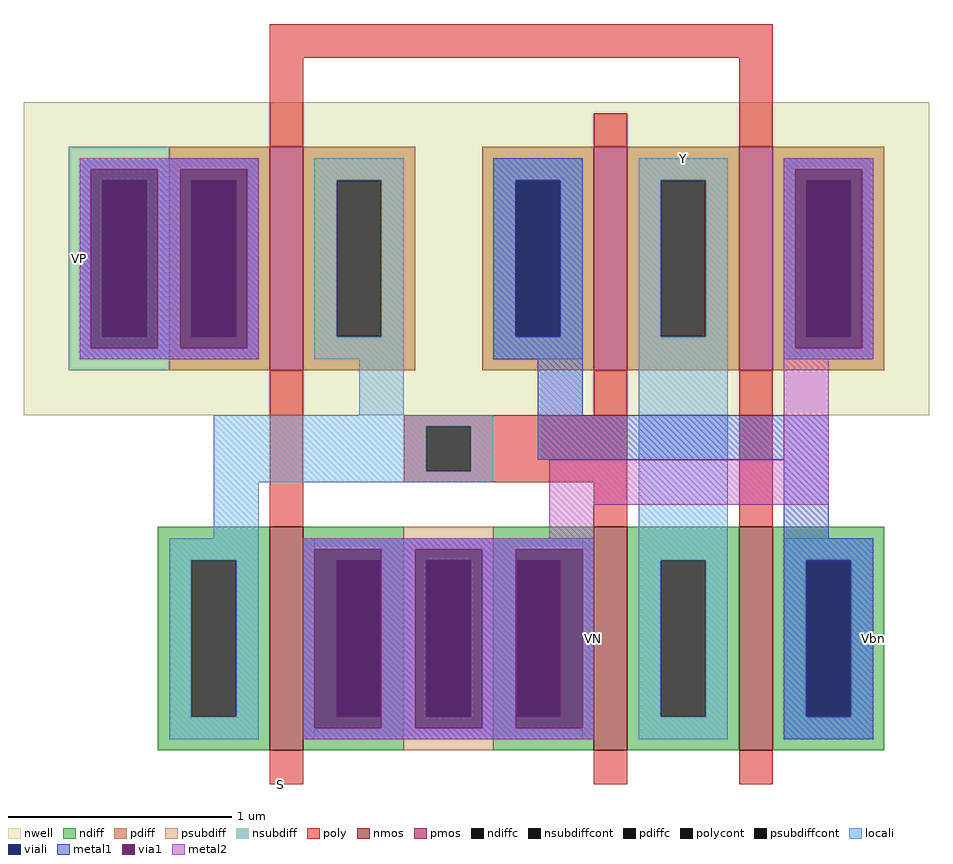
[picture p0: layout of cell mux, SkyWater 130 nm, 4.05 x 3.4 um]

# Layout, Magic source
magic
tech sky130A
<< nwell >>
rect -110 135 295 275
<< nmos >>
rect 0 -15 15 85
rect 145 -15 160 85
rect 210 -15 225 85
<< pmos >>
rect 0 155 15 255
rect 145 155 160 255
rect 210 155 225 255
<< ndiff >>
rect -50 70 0 85
rect -50 0 -35 70
rect -15 0 0 70
rect -50 -15 0 0
rect 15 70 60 85
rect 100 70 145 85
rect 15 0 30 70
rect 50 0 60 70
rect 100 0 110 70
rect 130 0 145 70
rect 15 -15 60 0
rect 100 -15 145 0
rect 160 70 210 85
rect 160 0 175 70
rect 195 0 210 70
rect 160 -15 210 0
rect 225 70 275 85
rect 225 0 240 70
rect 260 0 275 70
rect 225 -15 275 0
<< pdiff >>
rect -45 240 0 255
rect -45 170 -35 240
rect -15 170 0 240
rect -45 155 0 170
rect 15 240 65 255
rect 15 170 30 240
rect 50 170 65 240
rect 15 155 65 170
rect 95 240 145 255
rect 95 170 110 240
rect 130 170 145 240
rect 95 155 145 170
rect 160 240 210 255
rect 160 170 175 240
rect 195 170 210 240
rect 160 155 210 170
rect 225 240 275 255
rect 225 170 240 240
rect 260 170 275 240
rect 225 155 275 170
<< ndiffc >>
rect -35 0 -15 70
rect 30 0 50 70
rect 110 0 130 70
rect 175 0 195 70
rect 240 0 260 70
<< pdiffc >>
rect -35 170 -15 240
rect 30 170 50 240
rect 110 170 130 240
rect 175 170 195 240
rect 240 170 260 240
<< psubdiff >>
rect 60 70 100 85
rect 60 0 70 70
rect 90 0 100 70
rect 60 -15 100 0
<< nsubdiff >>
rect -90 240 -45 255
rect -90 170 -75 240
rect -55 170 -45 240
rect -90 155 -45 170
<< psubdiffcont >>
rect 70 0 90 70
<< nsubdiffcont >>
rect -75 170 -55 240
<< poly >>
rect 0 295 225 310
rect 0 255 15 295
rect 145 255 160 270
rect 210 255 225 295
rect 0 85 15 155
rect 145 135 160 155
rect 60 130 160 135
rect 60 110 70 130
rect 90 110 160 130
rect 60 105 160 110
rect 145 85 160 105
rect 210 85 225 155
rect 0 -30 15 -15
rect 145 -30 160 -15
rect 210 -30 225 -15
<< polycont >>
rect 70 110 90 130
<< locali >>
rect -85 240 -5 250
rect -85 170 -75 240
rect -55 170 -35 240
rect -15 170 -5 240
rect -85 160 -5 170
rect 20 240 60 250
rect 20 170 30 240
rect 50 170 60 240
rect 20 160 60 170
rect 100 240 140 250
rect 100 170 110 240
rect 130 170 140 240
rect 100 160 140 170
rect 165 240 205 250
rect 165 170 175 240
rect 195 170 205 240
rect 40 135 60 160
rect -25 130 100 135
rect -25 110 70 130
rect 90 110 100 130
rect -25 105 100 110
rect -25 80 -5 105
rect -45 70 -5 80
rect -45 0 -35 70
rect -15 0 -5 70
rect -45 -10 -5 0
rect 20 70 140 80
rect 20 0 30 70
rect 50 0 70 70
rect 90 0 110 70
rect 130 0 140 70
rect 20 -10 140 0
rect 165 70 205 170
rect 230 240 270 250
rect 230 170 240 240
rect 260 170 270 240
rect 230 160 270 170
rect 165 0 175 70
rect 195 0 205 70
rect 165 -10 205 0
rect 230 70 270 80
rect 230 0 240 70
rect 260 0 270 70
rect 230 -10 270 0
<< viali >>
rect -75 170 -55 240
rect -35 170 -15 240
rect 110 170 130 240
rect 30 0 50 70
rect 70 0 90 70
rect 110 0 130 70
rect 240 170 260 240
rect 240 0 260 70
<< metal1 >>
rect -85 245 -5 250
rect -85 165 -80 245
rect -50 165 -40 245
rect -10 165 -5 245
rect -85 160 -5 165
rect 100 240 140 250
rect 100 170 110 240
rect 130 170 140 240
rect 100 160 140 170
rect 230 245 270 250
rect 230 165 235 245
rect 265 165 270 245
rect 230 160 270 165
rect 120 135 140 160
rect 120 115 250 135
rect 230 80 250 115
rect 15 75 145 80
rect 15 -5 20 75
rect 50 -5 65 75
rect 95 -5 110 75
rect 140 -5 145 75
rect 15 -10 145 -5
rect 230 70 270 80
rect 230 0 240 70
rect 260 0 270 70
rect 230 -10 270 0
<< via1 >>
rect -80 240 -50 245
rect -80 170 -75 240
rect -75 170 -55 240
rect -55 170 -50 240
rect -80 165 -50 170
rect -40 240 -10 245
rect -40 170 -35 240
rect -35 170 -15 240
rect -15 170 -10 240
rect -40 165 -10 170
rect 235 240 265 245
rect 235 170 240 240
rect 240 170 260 240
rect 260 170 265 240
rect 235 165 265 170
rect 20 70 50 75
rect 20 0 30 70
rect 30 0 50 70
rect 20 -5 50 0
rect 65 70 95 75
rect 65 0 70 70
rect 70 0 90 70
rect 90 0 95 70
rect 65 -5 95 0
rect 110 70 140 75
rect 110 0 130 70
rect 130 0 140 70
rect 110 -5 140 0
<< metal2 >>
rect -85 245 -5 250
rect -85 165 -80 245
rect -50 165 -40 245
rect -10 165 -5 245
rect -85 160 -5 165
rect 230 245 270 250
rect 230 165 235 245
rect 265 165 270 245
rect 230 160 270 165
rect 230 115 250 160
rect 125 95 250 115
rect 125 80 145 95
rect 15 75 145 80
rect 15 -5 20 75
rect 50 -5 65 75
rect 95 -5 110 75
rect 140 -5 145 75
rect 15 -10 145 -5
<< labels >>
rlabel locali 185 250 185 250 1 Y
port 1 n
rlabel metal1 270 35 270 35 3 Vbn
port 2 e
rlabel poly 5 -30 5 -30 5 S
port 3 s
rlabel metal2 -85 205 -85 205 7 VP
port 4 w
rlabel metal2 145 35 145 35 3 VN
port 5 e
<< end >>
